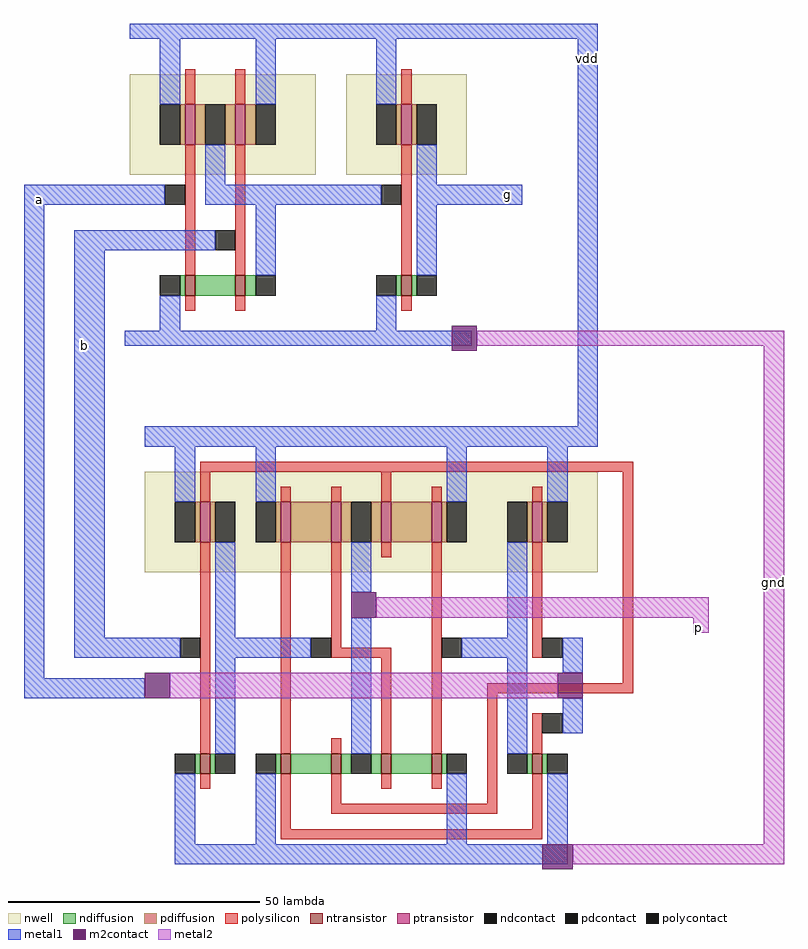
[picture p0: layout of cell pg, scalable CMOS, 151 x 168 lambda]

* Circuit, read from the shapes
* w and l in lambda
.subckt pg a b g p vdd gnd
M1 n1 a gnd VSUBS nfet w=4 l=2
M2 xor_0/Bnot b gnd VSUBS nfet w=4 l=2
M3 n2 b n1 VSUBS nfet w=4 l=2
M4 n3 a gnd VSUBS nfet w=4 l=2
M5 p b n3 VSUBS nfet w=4 l=2
M6 n4 xor_0/Bnot p VSUBS nfet w=4 l=2
M7 g n2 gnd VSUBS nfet w=4 l=2
M8 gnd xor_0/Anot n4 VSUBS nfet w=4 l=2
M9 gnd a xor_0/Anot VSUBS nfet w=4 l=2
M10 n2 a vdd n5 pfet w=8 l=2
M11 xor_0/Bnot b vdd n6 pfet w=8 l=2
M12 vdd b n2 n5 pfet w=8 l=2
M13 n7 a vdd n6 pfet w=8 l=2
M14 p xor_0/Bnot n7 n6 pfet w=8 l=2
M15 n8 b p n6 pfet w=8 l=2
M16 g n2 vdd n9 pfet w=8 l=2
M17 vdd xor_0/Anot n8 n6 pfet w=8 l=2
M18 vdd a xor_0/Anot n6 pfet w=8 l=2
.ends

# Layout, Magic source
magic
tech scmos
<< metal1 >>
rect 72 61 98 64
rect -16 28 0 32
rect 76 28 83 32
rect -16 -66 -12 28
rect -6 -62 0 23
rect 94 -16 98 61
rect -16 -70 0 -66
<< m2contact >>
rect 69 -1 74 4
rect 87 -104 93 -99
<< metal2 >>
rect 74 0 135 3
rect 117 -57 120 -54
rect 131 -99 135 0
rect 93 -103 135 -99
use xor  xor_0
transform 1 0 33 0 1 -41
box -33 -62 87 25
use and2  and2_0
transform 1 0 5 0 1 35
box -5 -35 71 29
<< labels >>
rlabel metal1 -13 29 -13 29 3 a
port 1 e default input
rlabel metal1 -4 0 -4 0 1 b
port 2 n default input
rlabel metal1 80 30 80 30 1 g
port 3 n default output
rlabel metal2 118 -56 118 -56 7 p
port 4 w default output
rlabel metal1 96 57 96 57 1 vdd
port 5 n default bidirectional
rlabel metal2 133 -47 133 -47 7 gnd
port 6 w default bidirectional
<< end >>

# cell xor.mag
magic
tech scmos
<< nwell >>
rect -25 -4 65 16
<< ntransistor >>
rect -14 -44 -12 -40
rect 2 -44 4 -40
rect 12 -44 14 -40
rect 22 -44 24 -40
rect 32 -44 34 -40
rect 52 -44 54 -40
<< ptransistor >>
rect -14 2 -12 10
rect 2 2 4 10
rect 12 2 14 10
rect 22 2 24 10
rect 32 2 34 10
rect 52 2 54 10
<< ndiffusion >>
rect -15 -44 -14 -40
rect -12 -44 -11 -40
rect 1 -44 2 -40
rect 4 -44 12 -40
rect 14 -44 16 -40
rect 20 -44 22 -40
rect 24 -44 32 -40
rect 34 -44 35 -40
rect 51 -44 52 -40
rect 54 -44 55 -40
<< pdiffusion >>
rect -15 2 -14 10
rect -12 2 -11 10
rect 1 2 2 10
rect 4 2 12 10
rect 14 2 16 10
rect 20 2 22 10
rect 24 2 32 10
rect 34 2 35 10
rect 51 2 52 10
rect 54 2 55 10
<< ndcontact >>
rect -19 -44 -15 -40
rect -11 -44 -7 -40
rect -3 -44 1 -40
rect 16 -44 20 -40
rect 35 -44 39 -40
rect 47 -44 51 -40
rect 55 -44 59 -40
<< pdcontact >>
rect -19 2 -15 10
rect -11 2 -7 10
rect -3 2 1 10
rect 16 2 20 10
rect 35 2 39 10
rect 47 2 51 10
rect 55 2 59 10
<< polysilicon >>
rect -14 16 72 18
rect -14 10 -12 16
rect 2 10 4 13
rect 12 10 14 13
rect 22 10 24 16
rect 32 10 34 13
rect 52 10 54 13
rect -14 -40 -12 2
rect 2 -40 4 2
rect 12 -19 14 2
rect 22 -1 24 2
rect 12 -21 24 -19
rect 12 -40 14 -37
rect 22 -40 24 -21
rect 32 -40 34 2
rect 52 -21 54 2
rect 70 -26 72 16
rect 43 -28 72 -26
rect -14 -47 -12 -44
rect 2 -55 4 -44
rect 12 -50 14 -44
rect 22 -47 24 -44
rect 32 -47 34 -44
rect 43 -50 45 -28
rect 52 -40 54 -32
rect 12 -52 45 -50
rect 52 -55 54 -44
rect 2 -57 54 -55
<< polycontact >>
rect -18 -21 -14 -17
rect 8 -21 12 -17
rect 34 -21 38 -17
rect 54 -21 58 -17
rect 54 -36 58 -32
<< metal1 >>
rect -25 21 65 25
rect -19 10 -15 21
rect -3 10 1 21
rect 35 10 39 21
rect 55 10 59 21
rect -11 -17 -7 2
rect 16 -8 20 2
rect -33 -21 -18 -17
rect -11 -21 8 -17
rect -33 -29 -25 -25
rect -11 -40 -7 -21
rect 16 -40 20 -13
rect 47 -17 51 2
rect 38 -21 51 -17
rect 47 -40 51 -21
rect 58 -24 62 -17
rect 58 -36 62 -29
rect -19 -58 -15 -44
rect -3 -58 1 -44
rect 35 -58 39 -44
rect 55 -58 59 -44
rect -19 -62 59 -58
<< m2contact >>
rect 16 -13 21 -8
rect -25 -29 -20 -24
rect 57 -29 62 -24
<< metal2 >>
rect 21 -13 87 -9
rect -20 -29 57 -24
<< labels >>
rlabel metal1 -25 21 65 25 1 VDD
rlabel metal1 -19 -62 59 -58 1 GND
rlabel metal1 -11 -21 12 -17 1 Bnot
rlabel metal1 34 -21 47 -17 1 Anot
rlabel metal1 -33 -21 -14 -17 1 B
rlabel metal1 16 -44 20 8 1 XOR
rlabel metal2 16 -13 87 -9 1 XOR
rlabel space -33 -29 62 -25 1 A
rlabel metal1 54 -36 62 -32 1 A
rlabel metal1 54 -21 62 -17 1 A
<< end >>

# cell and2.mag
magic
tech scmos
<< nwell >>
rect 0 -1 37 19
rect 43 -1 67 19
<< ntransistor >>
rect 11 -25 13 -21
rect 21 -25 23 -21
rect 54 -25 56 -21
<< ptransistor >>
rect 11 5 13 13
rect 21 5 23 13
rect 54 5 56 13
<< ndiffusion >>
rect 10 -25 11 -21
rect 13 -25 21 -21
rect 23 -25 25 -21
rect 53 -25 54 -21
rect 56 -25 57 -21
<< pdiffusion >>
rect 10 5 11 13
rect 13 5 15 13
rect 19 5 21 13
rect 23 5 25 13
rect 53 5 54 13
rect 56 5 57 13
<< ndcontact >>
rect 6 -25 10 -21
rect 25 -25 29 -21
rect 49 -25 53 -21
rect 57 -25 61 -21
<< pdcontact >>
rect 6 5 10 13
rect 15 5 19 13
rect 25 5 29 13
rect 49 5 53 13
rect 57 5 61 13
<< polysilicon >>
rect 11 13 13 20
rect 21 13 23 20
rect 54 13 56 20
rect 11 -21 13 5
rect 21 -21 23 5
rect 54 -21 56 5
rect 11 -28 13 -25
rect 21 -28 23 -25
rect 54 -28 56 -25
<< polycontact >>
rect 7 -7 11 -3
rect 17 -16 21 -12
rect 50 -7 54 -3
<< metal1 >>
rect 0 26 67 29
rect 6 13 10 26
rect 25 13 29 26
rect 49 13 53 26
rect 15 -3 19 5
rect 57 -3 61 5
rect -5 -7 7 -3
rect 15 -7 50 -3
rect 57 -7 71 -3
rect -5 -16 17 -12
rect 25 -21 29 -7
rect 57 -21 61 -7
rect 6 -32 10 -25
rect 49 -32 53 -25
rect -1 -35 68 -32
<< labels >>
rlabel metal1 -5 -16 21 -12 1 B
rlabel metal1 -5 -7 11 -3 1 A
rlabel metal1 57 -7 71 -3 1 OUT
rlabel metal1 0 26 67 29 5 VDD
rlabel metal1 -1 -35 68 -32 1 GND
<< end >>
